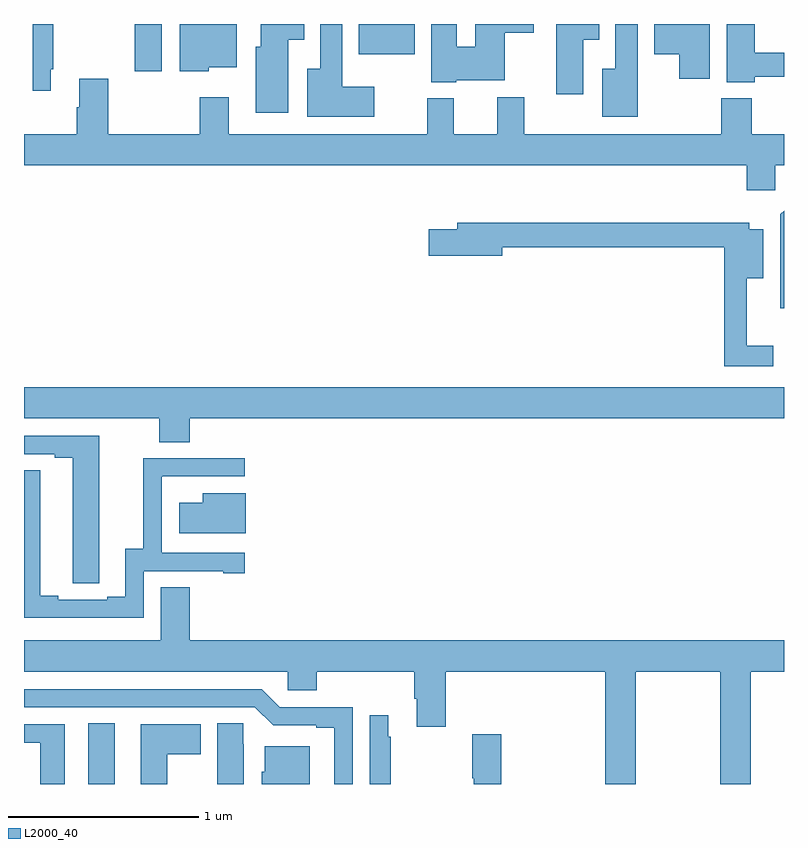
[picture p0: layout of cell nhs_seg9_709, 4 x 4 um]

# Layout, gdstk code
import gdstk
lib = gdstk.Library(unit=1e-6, precision=1e-09)
def R(c, l, rs):  # rectangles x0, y0, x1, y1
    for r in rs: c.add(gdstk.rectangle(r[:2], r[2:], *l))
def P(c, l, *ps):  # polygons
    for p in ps: c.add(gdstk.Polygon(p, *l))
L2000_40 = (2000, 40)

nhs_seg9_709 = lib.new_cell('nhs_seg9_709')
R(nhs_seg9_709, L2000_40, [(147.338,1190.5,147.478,1190.819), (147.583,1194.252,147.724,1194.5), (148.763,1194.341,149.056,1194.5)])
P(nhs_seg9_709, L2000_40, [(150.61,1194.5),(150.317,1194.5),(150.317,1194.341),(150.449,1194.341),(150.449,1194.213),(150.61,1194.213)],
  [(148.843,1194.169),(148.675,1194.169),(148.675,1194.5),(148.559,1194.5),(148.559,1194.265),(148.49,1194.265),(148.49,1194.011),(148.843,1194.011)],
  [(150.229,1194.5),(150.113,1194.5),(150.113,1194.265),(150.044,1194.265),(150.044,1194.011),(150.229,1194.011)],
  [(149.274,1194.203),(149.53,1194.203),(149.53,1194.454),(149.683,1194.454),(149.683,1194.5),(149.375,1194.5),(149.375,1194.379),(149.278,1194.379),(149.278,1194.5),(149.144,1194.5),(149.144,1194.194),(149.274,1194.194)],
  [(147.972,1194.272),(148.12,1194.272),(148.12,1194.5),(147.821,1194.5),(147.821,1194.251),(147.972,1194.251)],
  [(149.944,1194.416),(150.028,1194.416),(150.028,1194.5),(149.801,1194.5),(149.801,1194.129),(149.944,1194.129)],
  [(148.39,1194.416),(148.474,1194.416),(148.474,1194.5),(148.247,1194.5),(148.247,1194.381),(148.22,1194.381),(148.22,1194.033),(148.39,1194.033)],
  [(147.142,1194.262),(147.154,1194.262),(147.154,1194.5),(147.045,1194.5),(147.045,1194.15),(147.142,1194.15)],
  [(150.845,1194.222),(151,1194.222),(151,1194.35),(150.845,1194.35),(150.845,1194.5),(150.698,1194.5),(150.698,1194.194),(150.845,1194.194)],
  [(150.954,1193.756),(151,1193.756),(151,1193.92),(150.83,1193.92),(150.83,1194.109),(150.67,1194.109),(150.67,1193.92),(149.632,1193.92),(149.632,1194.115),(149.492,1194.115),(149.492,1193.92),(149.263,1193.92),(149.263,1194.109),(149.123,1194.109),(149.123,1193.92),(148.078,1193.92),(148.078,1194.115),(147.926,1194.115),(147.926,1193.92),(147.443,1193.92),(147.443,1194.211),(147.29,1194.211),(147.29,1194.062),(147.278,1194.062),(147.278,1193.92),(147,1193.92),(147,1193.756),(150.803,1193.756),(150.803,1193.625),(150.954,1193.625)],
  [(151,1193.518),(150.981,1193.499),(150.981,1193.004),(151,1193.004)],
  [(150.943,1192.807),(150.803,1192.807),(150.803,1193.162),(150.892,1193.162),(150.892,1193.419),(150.816,1193.419),(150.816,1193.455),(149.279,1193.455),(149.279,1193.421),(149.13,1193.421),(149.13,1193.279),(149.518,1193.279),(149.518,1193.326),(150.685,1193.326),(150.685,1192.698),(150.943,1192.698)],
  [(147.872,1192.424),(151,1192.424),(151,1192.588),(147,1192.588),(147,1192.424),(147.712,1192.424),(147.712,1192.3),(147.872,1192.3)],
  [(147.396,1191.664),(147.397,1191.664),(147.397,1192.332),(147,1192.332),(147,1192.236),(147.161,1192.236),(147.161,1192.216),(147.257,1192.216),(147.257,1191.556),(147.396,1191.556)],
  [(147.63,1191.621),(148.049,1191.621),(148.049,1191.609),(148.162,1191.609),(148.162,1191.717),(147.726,1191.717),(147.726,1192.118),(147.728,1192.118),(147.728,1192.119),(148.162,1192.119),(148.162,1192.215),(147.628,1192.215),(147.628,1191.737),(147.533,1191.737),(147.533,1191.486),(147.437,1191.486),(147.437,1191.471),(147.181,1191.471),(147.181,1191.491),(147.085,1191.491),(147.085,1192.151),(147,1192.151),(147,1191.375),(147.63,1191.375)],
  [(148.168,1192.03),(147.941,1192.03),(147.941,1191.979),(147.816,1191.979),(147.816,1191.821),(148.168,1191.821)],
  [(150.219,1191.092),(150.664,1191.092),(150.664,1190.5),(150.824,1190.5),(150.824,1191.092),(151,1191.092),(151,1191.256),(147.872,1191.256),(147.872,1191.536),(147.719,1191.536),(147.719,1191.256),(147,1191.256),(147,1191.092),(148.389,1191.092),(148.389,1190.994),(148.541,1190.994),(148.541,1191.092),(149.054,1191.092),(149.054,1190.95),(149.066,1190.95),(149.066,1190.802),(149.219,1190.802),(149.219,1191.092),(150.059,1191.092),(150.059,1190.5),(150.219,1190.5)],
  [(148.731,1190.904),(148.347,1190.904),(148.251,1191),(147,1191),(147,1190.904),(148.215,1190.904),(148.311,1190.808),(148.538,1190.808),(148.538,1190.796),(148.634,1190.796),(148.634,1190.5),(148.731,1190.5)],
  [(148.93,1190.75),(148.918,1190.75),(148.918,1190.863),(148.821,1190.863),(148.821,1190.5),(148.93,1190.5)],
  [(148.156,1190.708),(148.155,1190.708),(148.155,1190.819),(148.016,1190.819),(148.016,1190.5),(148.156,1190.5)],
  [(147.754,1190.656),(147.931,1190.656),(147.931,1190.815),(147.614,1190.815),(147.614,1190.5),(147.754,1190.5)],
  [(147.214,1190.814),(147,1190.814),(147,1190.718),(147.086,1190.718),(147.086,1190.5),(147.214,1190.5)],
  [(149.513,1190.761),(149.359,1190.761),(149.359,1190.53),(149.366,1190.53),(149.366,1190.5),(149.513,1190.5)],
  [(148.504,1190.698),(148.268,1190.698),(148.268,1190.565),(148.25,1190.565),(148.25,1190.5),(148.504,1190.5)])

lib.write_gds('nhs_seg9_709.gds')
